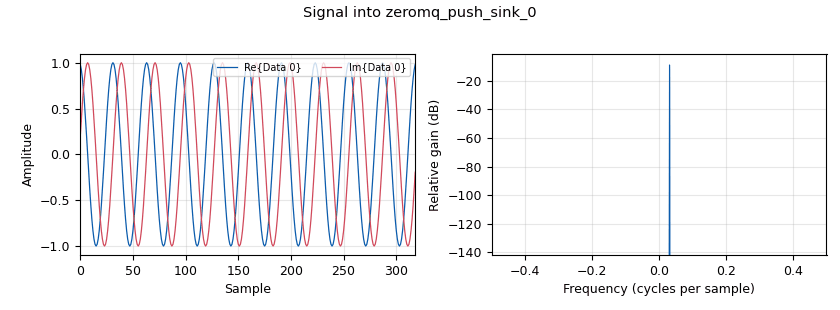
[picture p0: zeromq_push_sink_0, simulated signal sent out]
<?xml version='1.0' encoding='utf-8'?>
<?grc format='1' created='3.7.13'?>
<flow_graph>
<block>
<key>options</key>
<param><key>id</key><value>top_block</value></param>
<param><key>generate_options</key><value>qt_gui</value></param>
</block>
<block>
<key>variable</key>
<param><key>id</key><value>samp_rate</value></param>
<param><key>value</key><value>32000</value></param>
</block>
<block>
<key>analog_sig_source_x</key>
<param><key>id</key><value>analog_sig_source_x_0</value></param>
<param><key>amp</key><value>1</value></param>
<param><key>freq</key><value>1000</value></param>
<param><key>offset</key><value>0</value></param>
<param><key>type</key><value>complex</value></param>
<param><key>samp_rate</key><value>samp_rate</value></param>
<param><key>waveform</key><value>analog.GR_COS_WAVE</value></param>
</block>
<block>
<key>blocks_throttle</key>
<param><key>id</key><value>blocks_throttle_0</value></param>
<param><key>samples_per_second</key><value>samp_rate</value></param>
<param><key>type</key><value>complex</value></param>
</block>
<block>
<key>zeromq_push_sink</key>
<param><key>id</key><value>zeromq_push_sink_0</value></param>
<param><key>address</key><value>tcp://127.0.0.1:6666</value></param>
<param><key>type</key><value>complex</value></param>
<param><key>timeout</key><value>100</value></param>
</block>
<connection><source_block_id>analog_sig_source_x_0</source_block_id><sink_block_id>blocks_throttle_0</sink_block_id><source_key>0</source_key><sink_key>0</sink_key></connection>
<connection><source_block_id>blocks_throttle_0</source_block_id><sink_block_id>zeromq_push_sink_0</sink_block_id><source_key>0</source_key><sink_key>0</sink_key></connection>
</flow_graph>
